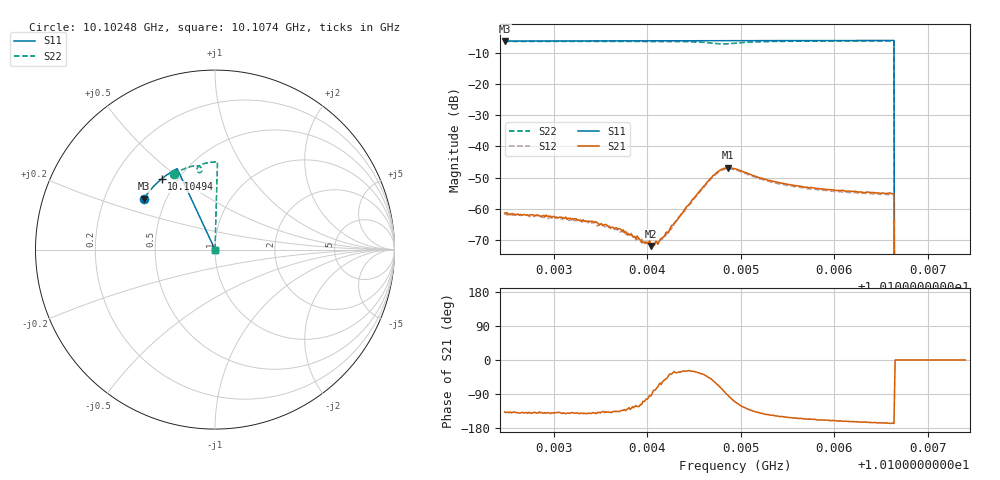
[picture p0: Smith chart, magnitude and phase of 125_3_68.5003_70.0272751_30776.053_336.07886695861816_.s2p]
#  HZ  S  RI  R  50.00
! Rohde & Schwarz Vector Network Analyzer
! Rohde-Schwarz,ZNB20-2Port,1311601062101988,3.16
! Created: UTC 3/20/2024, 4:54:09 PM
! freq[Hz]  re:S11  im:S11  re:S21  im:S21  re:S12  im:S12  re:S22  im:S22
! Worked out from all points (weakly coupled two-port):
!   401 points, 10.10248 GHz to 10.1074 GHz, reference 50 ohm
!   highest |S21| = -46.83 dB at 10.10487 GHz (marker M1); lowest = -71.9 dB at 10.10404 GHz (marker M2)
!   lowest |S11| = -6.3 dB at 10.10248 GHz (marker M3), VSWR 2.90, Z = 18.8 + j14 ohm
!   |S11| at or under -10 dB: 10.10664 GHz to end of sweep
!   |S22| runs from - to -6.2 dB; largest |S21 - S12| = 0.00046
!   S11 on the Smith chart (normalised r, x): 10.10248 GHz: 0.38, +0.28; 10.10494 GHz: 0.41, +0.43; 10.1074 GHz: 1.00, +0.00
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1.0102476e10  -0.3959 0.2831  -0.00062 -0.000573  -0.000533 -0.000596  -0.2286 0.4211
1.0102944e10  -0.3797 0.3068  -0.000583 -0.000498  -0.000497 -0.000487  -0.2015 0.4363
1.0103301e10  -0.3664 0.3241  -0.000486 -0.000405  -0.000433 -0.000436  -0.1798 0.4465
1.0103437e10  -0.3613 0.3305  -0.000468 -0.000381  -0.000418 -0.000445  -0.1713 0.4501
1.010351e10  -0.3582 0.3338  -0.000426 -0.000393  -0.000394 -0.000402  -0.1665 0.4521
1.0103695e10  -0.351 0.3425  -0.000348 -0.000334  -0.00029 -0.000305  -0.1542 0.4565
1.0103818e10  -0.346 0.3479  -0.000245 -0.000287  -0.000173 -0.000339  -0.146 0.4593
1.0103954e10  -0.3403 0.3539  -9.61e-05 -0.000282  -9.61e-05 -0.000277  -0.1364 0.4621
1.010404e10  -0.3366 0.3577  -2.23e-05 -0.000253  2.55e-06 -0.000255  -0.1299 0.4637
1.0104065e10  -0.3357 0.3587  3.94e-05 -0.000275  4.37e-05 -0.000248  -0.128 0.4641
1.0104127e10  -0.333 0.3614  0.000125 -0.000265  0.00015 -0.000258  -0.1232 0.4651
1.0104225e10  -0.3288 0.3656  0.0003 -0.000279  0.000336 -0.00026  -0.115 0.4662
1.0104681e10  -0.3085 0.3843  0.00202 -0.00234  0.00211 -0.0021  -0.0724 0.4467
1.0104779e10  -0.3039 0.388  0.00131 -0.00394  0.0016 -0.00363  -0.0774 0.4319
1.0104866e10  -0.3 0.3916  -0.000306 -0.00455  0.000108 -0.00437  -0.0914 0.4297
1.010494e10  -0.2966 0.3944  -0.00149 -0.00411  -0.00107 -0.00407  -0.0994 0.4381
1.0105309e10  -0.2791 0.4082  -0.00231 -0.00162  -0.00209 -0.00176  -0.0803 0.4718
1.0105765e10  -0.2565 0.4243  -0.00199 -0.000881  -0.0018 -0.000995  -0.046 0.483
1.0106591e10  -0.2133 0.4496  -0.00174 -0.00041  -0.00162 -0.000549  0.0105 0.4887
1.0106615e10  -0.2121 0.4502  -0.00171 -0.000412  -0.00159 -0.000519  0.0122 0.489
1.0106677e10  0 0  0 0  0 0  0 0
1.0107404e10  0 0  0 0  0 0  0 0
